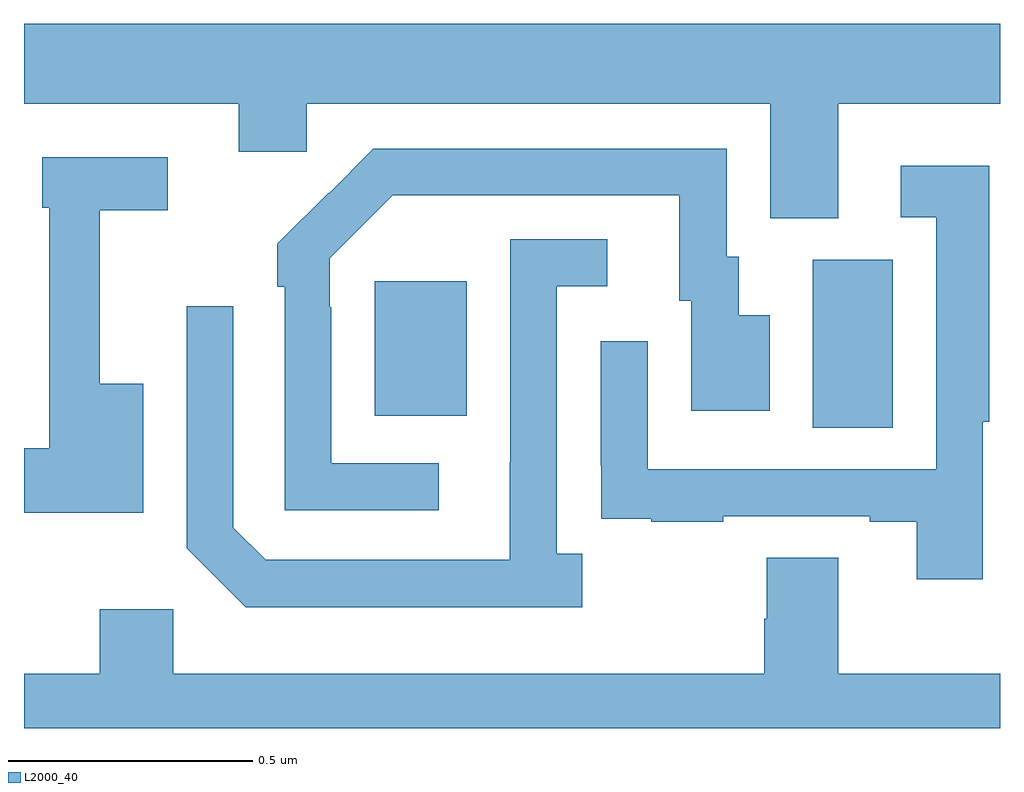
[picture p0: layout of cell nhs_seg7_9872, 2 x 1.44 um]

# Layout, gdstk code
import gdstk
lib = gdstk.Library(unit=1e-6, precision=1e-09)
def R(c, l, rs):  # rectangles x0, y0, x1, y1
    for r in rs: c.add(gdstk.rectangle(r[:2], r[2:], *l))
def P(c, l, *ps):  # polygons
    for p in ps: c.add(gdstk.Polygon(p, *l))
L2000_40 = (2000, 40)

nhs_seg7_9872 = lib.new_cell('nhs_seg7_9872')
R(nhs_seg7_9872, L2000_40, [(244.616,1002.616,244.78,1002.96), (243.719,1002.641,243.907,1002.916)])
P(nhs_seg7_9872, L2000_40, [(244.669,1003.28),(245,1003.28),(245,1003.444),(243,1003.444),(243,1003.28),(243.44,1003.28),(243.44,1003.182),(243.579,1003.182),(243.579,1003.28),(244.529,1003.28),(244.529,1003.045),(244.669,1003.045)],
  [(243.85,1002.543),(243.63,1002.543),(243.63,1002.863),(243.627,1002.863),(243.627,1002.963),(243.756,1003.092),(244.343,1003.092),(244.343,1002.876),(244.367,1002.876),(244.367,1002.651),(244.528,1002.651),(244.528,1002.847),(244.465,1002.847),(244.465,1002.966),(244.44,1002.966),(244.44,1003.188),(243.716,1003.188),(243.625,1003.097),(243.624,1003.098),(243.519,1002.993),(243.519,1002.905),(243.534,1002.905),(243.534,1002.447),(243.85,1002.447)],
  [(243.244,1002.706),(243.155,1002.706),(243.155,1003.062),(243.295,1003.062),(243.295,1003.17),(243.037,1003.17),(243.037,1003.067),(243.052,1003.067),(243.052,1002.574),(243,1002.574),(243,1002.442),(243.244,1002.442)],
  [(244.965,1002.628),(244.978,1002.628),(244.978,1003.153),(244.797,1003.153),(244.797,1003.047),(244.869,1003.047),(244.869,1002.531),(244.278,1002.531),(244.278,1002.793),(244.182,1002.793),(244.182,1002.538),(244.183,1002.538),(244.183,1002.429),(244.285,1002.429),(244.285,1002.423),(244.433,1002.423),(244.433,1002.435),(244.733,1002.435),(244.733,1002.423),(244.829,1002.423),(244.829,1002.306),(244.965,1002.306)],
  [(244.144,1002.358),(244.092,1002.358),(244.092,1002.906),(244.195,1002.906),(244.195,1003.002),(243.996,1003.002),(243.996,1002.545),(243.995,1002.545),(243.995,1002.345),(243.495,1002.345),(243.429,1002.411),(243.429,1002.865),(243.333,1002.865),(243.333,1002.369),(243.454,1002.248),(244.144,1002.248)],
  [(245,1002.112),(244.669,1002.112),(244.669,1002.35),(244.522,1002.35),(244.522,1002.225),(244.517,1002.225),(244.517,1002.112),(243.306,1002.112),(243.306,1002.244),(243.155,1002.244),(243.155,1002.112),(243,1002.112),(243,1002),(245,1002)])

lib.write_gds('nhs_seg7_9872.gds')
